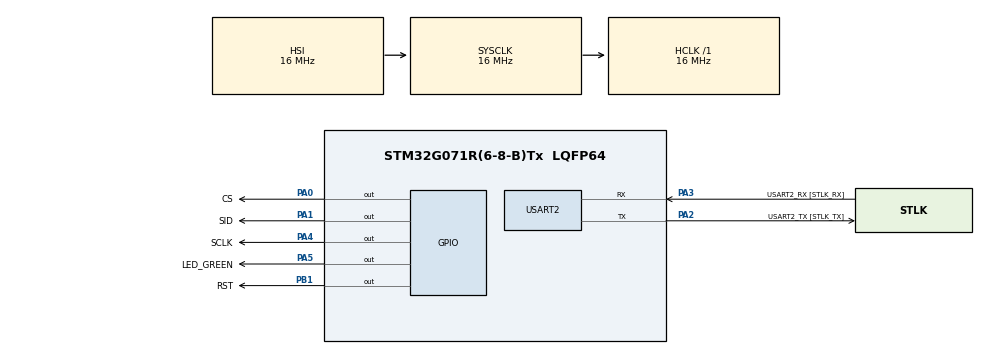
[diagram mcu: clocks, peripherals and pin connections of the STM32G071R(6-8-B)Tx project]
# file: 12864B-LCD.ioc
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Mcu.Family=STM32G0
Mcu.Name=STM32G071R(6-8-B)Tx
Mcu.Package=LQFP64
PA0.GPIO_Label=CS
PA0.Signal=GPIO_Output
PA1.GPIO_Label=SID
PA1.Signal=GPIO_Output
PA2.GPIO_Label=USART2_TX [STLK_TX]
PA2.GPIO_PuPd=GPIO_PULLUP
PA2.Mode=Asynchronous
PA2.Signal=USART2_TX
PA3.GPIO_Label=USART2_RX [STLK_RX]
PA3.GPIO_PuPd=GPIO_PULLUP
PA3.Mode=Asynchronous
PA3.Signal=USART2_RX
PA4.GPIO_Label=SCLK
PA4.Signal=GPIO_Output
PA5.GPIO_Label=LED_GREEN
PA5.GPIO_Speed=GPIO_SPEED_FREQ_HIGH
PA5.Signal=GPIO_Output
PB1.GPIO_Label=RST
PB1.Signal=GPIO_Output
PC13.Mode=SYS_WakeUp1
PC13.Signal=SYS_WKUP2
PC14-OSC32_IN\ (PC14).Mode=LSE-External-Oscillator
PC14-OSC32_IN\ (PC14).Signal=RCC_OSC32_IN
PC15-OSC32_OUT\ (PC15).Mode=LSE-External-Oscillator
PC15-OSC32_OUT\ (PC15).Signal=RCC_OSC32_OUT
PF0-OSC_IN\ (PF0).GPIO_Label=MCO
PF0-OSC_IN\ (PF0).Mode=HSE-External-Clock-Source
PF0-OSC_IN\ (PF0).Signal=RCC_OSC_IN
ProjectManager.HeapSize=0x200
ProjectManager.StackSize=0x400
ProjectManager.TargetToolchain=STM32CubeIDE
RCC.AHBFreq_Value=16000000
RCC.CortexFreq_Value=16000000
RCC.EXTERNAL_CLOCK_VALUE=12288000
RCC.HCLKFreq_Value=16000000
RCC.HSE_VALUE=8000000
RCC.HSI_VALUE=16000000
RCC.SYSCLKFreq_VALUE=16000000
RCC.VCOOutputFreq_Value=128000000
TIM1.Period=65535
TIM1.Prescaler=16-1
USART2.VirtualMode-Asynchronous=VM_ASYNC
VP_SYS_VS_DBSignals.Mode=DisableDeadBatterySignals
VP_TIM1_VS_ClockSourceINT.Mode=Internal
board=NUCLEO-G071RB

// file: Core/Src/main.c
/* USER CODE BEGIN Header */
/**
  ******************************************************************************
  * @file           : main.c
  * @brief          : Main program body
  ******************************************************************************
  * @attention
  *
  * Copyright (c) 2024 STMicroelectronics.
  * All rights reserved.
  *
  * This software is licensed under terms that can be found in the LICENSE file
  * in the root directory of this software component.
  * If no LICENSE file comes with this software, it is provided AS-IS.
  *
  ******************************************************************************
  */
/* USER CODE END Header */
#include "ST7920LCD.h"
#include "main.h"

/* USER CODE BEGIN Includes */
#include "delay.h"
#include "bitmap.h"
/* USER CODE END Includes */

TIM_HandleTypeDef htim1;

UART_HandleTypeDef huart2;

void SystemClock_Config(void);
static void MX_GPIO_Init(void);
static void MX_USART2_UART_Init(void);
static void MX_TIM1_Init(void);
/* USER CODE BEGIN PFP */
void DrawLeftBitmapsInLoop(void);
void DrawRightAnimationsInLoop(void);
/* USER CODE END PFP */

/* USER CODE BEGIN 0 */

int animationDelay = 5; // ms

// Array of pointers to the left animations
const uint8_t* FrontBitmapArray[] = {
	Front1degLeft, Front2degLeft, Front3degLeft, Front4degLeft, Front5degLeft,
	Front6degLeft, Front7degLeft, Front8degLeft, Front9degLeft, Front10degLeft,
	Front11degLeft, Front12degLeft, Front13degLeft, Front14degLeft, Front15degLeft,
	Front16degLeft, Front17degLeft, Front18degLeft, Front19degLeft, Front20degLeft,
	Front21degLeft, Front22degLeft, Front23degLeft, Front24degLeft, Front25degLeft,
	Front26degLeft, Front27degLeft, Front28degLeft, Front29degLeft, Front30degLeft,
	Front31degLeft, Front32degLeft, Front33degLeft, Front34degLeft, Front35degLeft
};

// Array of pointers to the right animations
const unsigned char* rightAnimations[] = {
    frontRight1, frontRight2, frontRight3, frontRight4, frontRight5,
    frontRight6, frontRight7, frontRight8, frontRight9, frontRight10,
    frontRight11, frontRight12, frontRight13, frontRight14, frontRight15,
    frontRight16, frontRight17, frontRight18, frontRight19, frontRight20,
    frontRight21, frontRight22, frontRight23, frontRight24, frontRight25,
    frontRight26, frontRight27, frontRight28, frontRight29, frontRight30,
	frontRight31, frontRight32, frontRight33, frontRight34, frontRight35
};

/* USER CODE END 0 */

int main(void)
{

  /* MCU Configuration--------------------------------------------------------*/

  /* Reset of all peripherals, Initializes the Flash interface and the Systick. */
  HAL_Init();

  /* Configure the system clock */
  SystemClock_Config();

  /* Initialize all configured peripherals */
  MX_GPIO_Init();
  MX_USART2_UART_Init();
  MX_TIM1_Init();
  /* USER CODE BEGIN 2 */

  delay_init();

  ST7920_Init();

  /*
  ST7920_SendString(0,2, "");
  ST7920_SendString(1,0, "Design Challenge");
  ST7920_SendString(2,0, "Vehicle Online");
  ST7920_SendString(3,2, "");

  HAL_Delay(2000);
  ST7920_Clear();
  */

  /* USER CODE END 2 */

  /* Infinite loop */
  /* USER CODE BEGIN WHILE */
  while (1)
  {
	  /*
	  ST7920_GraphicMode(1);
	  ST7920_DrawBitmap(BigLogo);

	  HAL_Delay(2000);
	  ST7920_Clear();

	  ST7920_GraphicMode(1);
	  ST7920_DrawBitmap(utsText);

	  HAL_Delay(2000);
	  ST7920_Clear();

	  ST7920_GraphicMode(1);
	  ST7920_DrawBitmap(techFest);

	  HAL_Delay(2000);
	  ST7920_Clear();

	  ST7920_GraphicMode(1);
	  ST7920_DrawBitmap(car3);

	  HAL_Delay(2000);
	  ST7920_Clear();

	  ST7920_GraphicMode(0);
	  ST7920_SendString(0,0, "Speed: XXX");
	  ST7920_SendString(1,0, "Accel: XXX");
	  ST7920_SendString(2,0, "Steer: R/L/F");
	  ST7920_SendString(3,0, " Auto: ON/OFF");

	  HAL_Delay(2000);
	  ST7920_Clear();
	  */

	  DrawLeftBitmapsInLoop();
	  DrawRightAnimationsInLoop();

    /* USER CODE END WHILE */

  }
}

void SystemClock_Config(void)
{
  RCC_OscInitTypeDef RCC_OscInitStruct = {0};
  RCC_ClkInitTypeDef RCC_ClkInitStruct = {0};

  /** Configure the main internal regulator output voltage
  */
  HAL_PWREx_ControlVoltageScaling(PWR_REGULATOR_VOLTAGE_SCALE1);

  /** Initializes the RCC Oscillators according to the specified parameters
  * in the RCC_OscInitTypeDef structure.
  */
  RCC_OscInitStruct.OscillatorType = RCC_OSCILLATORTYPE_HSI;
  RCC_OscInitStruct.HSIState = RCC_HSI_ON;
  RCC_OscInitStruct.HSIDiv = RCC_HSI_DIV1;
  RCC_OscInitStruct.HSICalibrationValue = RCC_HSICALIBRATION_DEFAULT;
  RCC_OscInitStruct.PLL.PLLState = RCC_PLL_NONE;
  if (HAL_RCC_OscConfig(&RCC_OscInitStruct) != HAL_OK)
  {
    Error_Handler();
  }

  /** Initializes the CPU, AHB and APB buses clocks
  */
  RCC_ClkInitStruct.ClockType = RCC_CLOCKTYPE_HCLK|RCC_CLOCKTYPE_SYSCLK
                              |RCC_CLOCKTYPE_PCLK1;
  RCC_ClkInitStruct.SYSCLKSource = RCC_SYSCLKSOURCE_HSI;
  RCC_ClkInitStruct.AHBCLKDivider = RCC_SYSCLK_DIV1;
  RCC_ClkInitStruct.APB1CLKDivider = RCC_HCLK_DIV1;

  if (HAL_RCC_ClockConfig(&RCC_ClkInitStruct, FLASH_LATENCY_0) != HAL_OK)
  {
    Error_Handler();
  }
}

static void MX_TIM1_Init(void)
{

  TIM_ClockConfigTypeDef sClockSourceConfig = {0};
  TIM_MasterConfigTypeDef sMasterConfig = {0};

  htim1.Instance = TIM1;
  htim1.Init.Prescaler = 16-1;
  htim1.Init.CounterMode = TIM_COUNTERMODE_UP;
  htim1.Init.Period = 65535;
  htim1.Init.ClockDivision = TIM_CLOCKDIVISION_DIV1;
  htim1.Init.RepetitionCounter = 0;
  htim1.Init.AutoReloadPreload = TIM_AUTORELOAD_PRELOAD_DISABLE;
  if (HAL_TIM_Base_Init(&htim1) != HAL_OK)
  {
    Error_Handler();
  }
  sClockSourceConfig.ClockSource = TIM_CLOCKSOURCE_INTERNAL;
  if (HAL_TIM_ConfigClockSource(&htim1, &sClockSourceConfig) != HAL_OK)
  {
    Error_Handler();
  }
  sMasterConfig.MasterOutputTrigger = TIM_TRGO_RESET;
  sMasterConfig.MasterOutputTrigger2 = TIM_TRGO2_RESET;
  sMasterConfig.MasterSlaveMode = TIM_MASTERSLAVEMODE_DISABLE;
  if (HAL_TIMEx_MasterConfigSynchronization(&htim1, &sMasterConfig) != HAL_OK)
  {
    Error_Handler();
  }

}

static void MX_USART2_UART_Init(void)
{

  huart2.Instance = USART2;
  huart2.Init.BaudRate = 115200;
  huart2.Init.WordLength = UART_WORDLENGTH_8B;
  huart2.Init.StopBits = UART_STOPBITS_1;
  huart2.Init.Parity = UART_PARITY_NONE;
  huart2.Init.Mode = UART_MODE_TX_RX;
  huart2.Init.HwFlowCtl = UART_HWCONTROL_NONE;
  huart2.Init.OverSampling = UART_OVERSAMPLING_16;
  huart2.Init.OneBitSampling = UART_ONE_BIT_SAMPLE_DISABLE;
  huart2.Init.ClockPrescaler = UART_PRESCALER_DIV1;
  huart2.AdvancedInit.AdvFeatureInit = UART_ADVFEATURE_NO_INIT;
  if (HAL_UART_Init(&huart2) != HAL_OK)
  {
    Error_Handler();
  }
  if (HAL_UARTEx_SetTxFifoThreshold(&huart2, UART_TXFIFO_THRESHOLD_1_8) != HAL_OK)
  {
    Error_Handler();
  }
  if (HAL_UARTEx_SetRxFifoThreshold(&huart2, UART_RXFIFO_THRESHOLD_1_8) != HAL_OK)
  {
    Error_Handler();
  }
  if (HAL_UARTEx_DisableFifoMode(&huart2) != HAL_OK)
  {
    Error_Handler();
  }

}

static void MX_GPIO_Init(void)
{
  GPIO_InitTypeDef GPIO_InitStruct = {0};

  /* GPIO Ports Clock Enable */
  __HAL_RCC_GPIOC_CLK_ENABLE();
  __HAL_RCC_GPIOF_CLK_ENABLE();
  __HAL_RCC_GPIOA_CLK_ENABLE();
  __HAL_RCC_GPIOB_CLK_ENABLE();

  /*Configure GPIO pin Output Level */
  HAL_GPIO_WritePin(GPIOA, CS_Pin|SID_Pin|SCLK_Pin|LED_GREEN_Pin, GPIO_PIN_RESET);

  /*Configure GPIO pin Output Level */
  HAL_GPIO_WritePin(RST_GPIO_Port, RST_Pin, GPIO_PIN_RESET);

  /*Configure GPIO pins : CS_Pin SID_Pin SCLK_Pin */
  GPIO_InitStruct.Pin = CS_Pin|SID_Pin|SCLK_Pin;
  GPIO_InitStruct.Mode = GPIO_MODE_OUTPUT_PP;
  GPIO_InitStruct.Pull = GPIO_NOPULL;
  GPIO_InitStruct.Speed = GPIO_SPEED_FREQ_LOW;
  HAL_GPIO_Init(GPIOA, &GPIO_InitStruct);

  /*Configure GPIO pin : LED_GREEN_Pin */
  GPIO_InitStruct.Pin = LED_GREEN_Pin;
  GPIO_InitStruct.Mode = GPIO_MODE_OUTPUT_PP;
  GPIO_InitStruct.Pull = GPIO_NOPULL;
  GPIO_InitStruct.Speed = GPIO_SPEED_FREQ_HIGH;
  HAL_GPIO_Init(LED_GREEN_GPIO_Port, &GPIO_InitStruct);

  /*Configure GPIO pin : RST_Pin */
  GPIO_InitStruct.Pin = RST_Pin;
  GPIO_InitStruct.Mode = GPIO_MODE_OUTPUT_PP;
  GPIO_InitStruct.Pull = GPIO_NOPULL;
  GPIO_InitStruct.Speed = GPIO_SPEED_FREQ_LOW;
  HAL_GPIO_Init(RST_GPIO_Port, &GPIO_InitStruct);

}

/* USER CODE BEGIN 4 */

// Function to loop through the bitmaps
void DrawLeftBitmapsInLoop(void) {
    int i;
    ST7920_GraphicMode(1);

    // Loop to count up from 1 to 35
    for (i = 0; i < 35; i++) {
        ST7920_DrawBitmap(FrontBitmapArray[i]);
    }

    // Loop to count down from 35 to 1
    for (i = 34; i >= 0; i--) {
        ST7920_DrawBitmap(FrontBitmapArray[i]);
    }
}

void DrawRightAnimationsInLoop(void) {
    int i;
    ST7920_GraphicMode(1);

    // Loop to count up from 1 to 35
    for (i = 0; i < 35; i++) {
        ST7920_DrawBitmap(rightAnimations[i]);
    }

    // Loop to count down from 35 to 0
    for (i = 34; i >= 0; i--) {
        ST7920_DrawBitmap(rightAnimations[i]);
    }
}

/* USER CODE END 4 */

void Error_Handler(void)
{
  __disable_irq();
  while (1)
  {
  }
}
